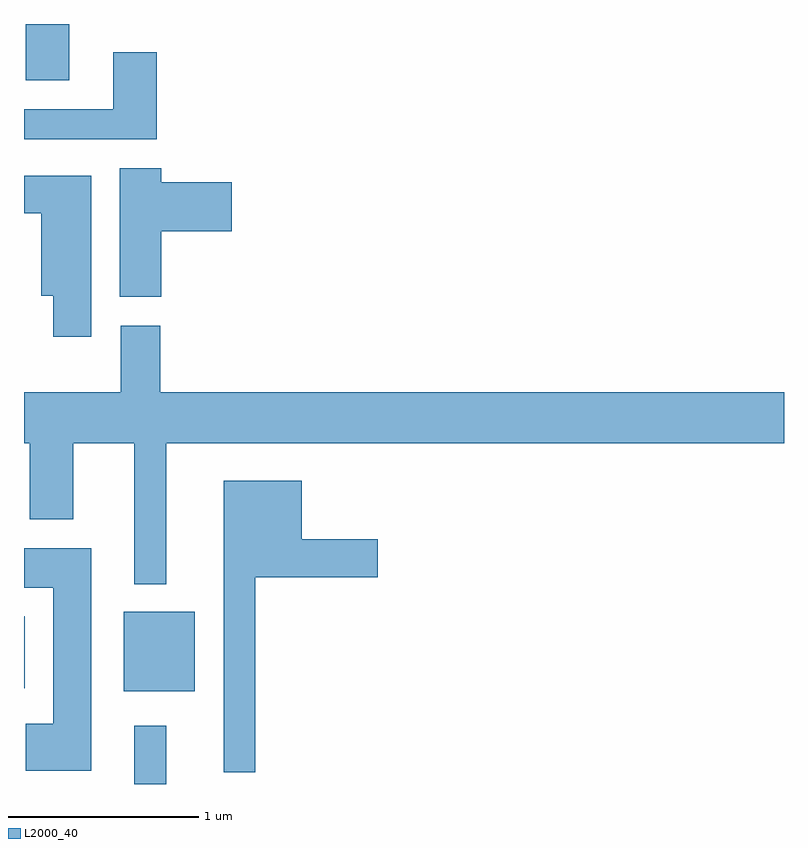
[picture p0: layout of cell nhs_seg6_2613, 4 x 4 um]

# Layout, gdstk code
import gdstk
lib = gdstk.Library(unit=1e-6, precision=1e-09)
def R(c, l, rs):  # rectangles x0, y0, x1, y1
    for r in rs: c.add(gdstk.rectangle(r[:2], r[2:], *l))
def P(c, l, *ps):  # polygons
    for p in ps: c.add(gdstk.Polygon(p, *l))
L2000_40 = (2000, 40)

nhs_seg6_2613 = lib.new_cell('nhs_seg6_2613')
R(nhs_seg6_2613, L2000_40, [(264.191,1628.162,264.359,1628.468), (264.136,1628.651,264.509,1629.069), (263.611,1628.666,263.614,1629.044), (263.621,1631.866,263.849,1632.162)])
P(nhs_seg6_2613, L2000_40, [(264.309,1632.014),(264.081,1632.014),(264.081,1631.714),(263.611,1631.714),(263.611,1631.556),(264.309,1631.556)],
  [(264.334,1631.071),(264.704,1631.071),(264.704,1631.329),(264.334,1631.329),(264.334,1631.404),(264.116,1631.404),(264.116,1630.726),(264.334,1630.726)],
  [(263.964,1631.364),(263.611,1631.364),(263.611,1631.166),(263.701,1631.166),(263.701,1630.731),(263.766,1630.731),(263.766,1630.516),(263.964,1630.516)],
  [(264.359,1629.956),(267.611,1629.956),(267.611,1630.224),(264.329,1630.224),(264.329,1630.574),(264.121,1630.574),(264.121,1630.224),(263.611,1630.224),(263.611,1629.956),(263.641,1629.956),(263.641,1629.556),(263.869,1629.556),(263.869,1629.956),(264.191,1629.956),(264.191,1629.213),(264.359,1629.213)],
  [(264.829,1629.251),(265.474,1629.251),(265.474,1629.449),(265.074,1629.449),(265.074,1629.759),(264.661,1629.759),(264.661,1628.223),(264.829,1628.223)],
  [(263.964,1629.404),(263.611,1629.404),(263.611,1629.196),(263.766,1629.196),(263.766,1628.479),(263.621,1628.479),(263.621,1628.231),(263.964,1628.231)])

lib.write_gds('nhs_seg6_2613.gds')
